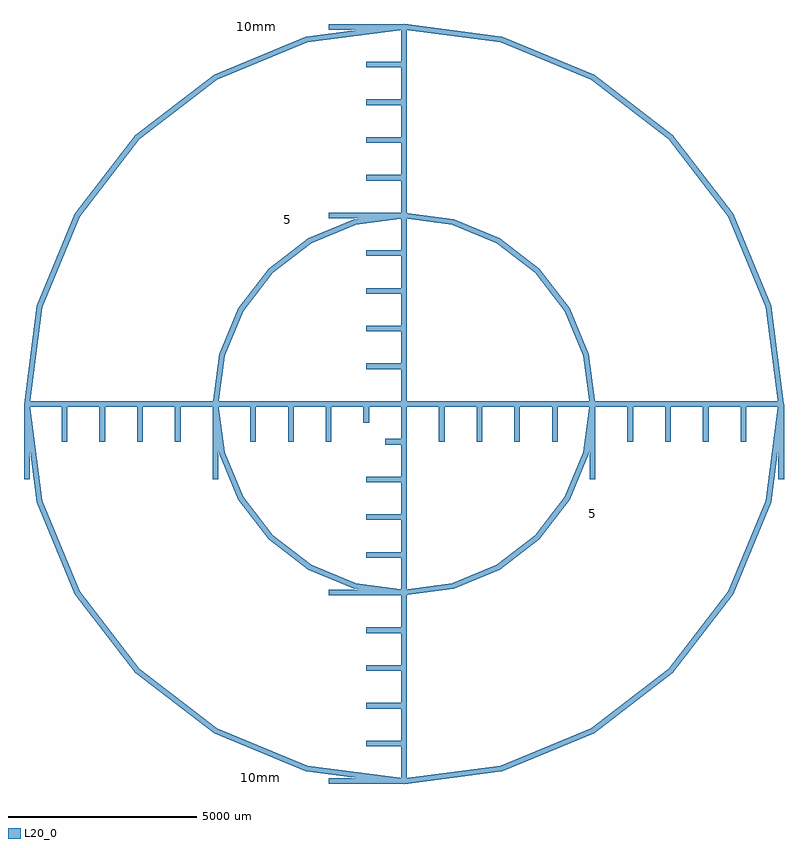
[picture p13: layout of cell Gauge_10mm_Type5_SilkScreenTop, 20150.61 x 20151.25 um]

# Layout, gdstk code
import gdstk
lib = gdstk.Library(unit=1e-6, precision=1e-09)
L20_0 = (20, 0)

gauge_10mm_type5_silkscr = lib.new_cell('Gauge_10mm_Type5_SilkScreenTop')
gauge_10mm_type5_silkscr.add(gdstk.FlexPath([(9999.98,0),(9999.98,-1998.98)], 149.998, ends="flush", simple_path=True, layer=20, datatype=0))  # L20_0
gauge_10mm_type5_silkscr.add(gdstk.FlexPath([(0,0),(9999.98,0)], 149.998, ends="flush", simple_path=True, layer=20, datatype=0))  # L20_0
gauge_10mm_type5_silkscr.add(gdstk.FlexPath([(0,0),(0,-1998.98)], 149.998, ends="flush", simple_path=True, layer=20, datatype=0))  # L20_0
gauge_10mm_type5_silkscr.add(gdstk.FlexPath([(5001.26,0),(5001.26,-1998.98)], 149.998, ends="flush", simple_path=True, layer=20, datatype=0))  # L20_0
gauge_10mm_type5_silkscr.add(gdstk.FlexPath([(1000.76,0),(1000.76,-1000.76)], 149.998, ends="flush", simple_path=True, layer=20, datatype=0))  # L20_0
gauge_10mm_type5_silkscr.add(gdstk.FlexPath([(1998.98,0),(1998.98,-1000.76)], 149.998, ends="flush", simple_path=True, layer=20, datatype=0))  # L20_0
gauge_10mm_type5_silkscr.add(gdstk.FlexPath([(2999.74,0),(2999.74,-1000.76)], 149.998, ends="flush", simple_path=True, layer=20, datatype=0))  # L20_0
gauge_10mm_type5_silkscr.add(gdstk.FlexPath([(4000.5,0),(4000.5,-1000.76)], 149.998, ends="flush", simple_path=True, layer=20, datatype=0))  # L20_0
gauge_10mm_type5_silkscr.add(gdstk.FlexPath([(5999.48,0),(5999.48,-1000.76)], 149.998, ends="flush", simple_path=True, layer=20, datatype=0))  # L20_0
gauge_10mm_type5_silkscr.add(gdstk.FlexPath([(7000.24,0),(7000.24,-1000.76)], 149.998, ends="flush", simple_path=True, layer=20, datatype=0))  # L20_0
gauge_10mm_type5_silkscr.add(gdstk.FlexPath([(8001,0),(8001,-1000.76)], 149.998, ends="flush", simple_path=True, layer=20, datatype=0))  # L20_0
gauge_10mm_type5_silkscr.add(gdstk.FlexPath([(8999.22,0),(8999.22,-1000.76)], 149.998, ends="flush", simple_path=True, layer=20, datatype=0))  # L20_0
gauge_10mm_type5_silkscr.add(gdstk.FlexPath([(0,0),(0,9999.98)], 149.998, ends="flush", simple_path=True, layer=20, datatype=0))  # L20_0
gauge_10mm_type5_silkscr.add(gdstk.FlexPath([(0,9999.98),(-1998.98,9999.98)], 149.998, ends="flush", simple_path=True, layer=20, datatype=0))  # L20_0
gauge_10mm_type5_silkscr.add(gdstk.FlexPath([(0,5001.26),(-1998.98,5001.26)], 149.998, ends="flush", simple_path=True, layer=20, datatype=0))  # L20_0
gauge_10mm_type5_silkscr.add(gdstk.FlexPath([(0,1000.76),(-1000.76,1000.76)], 149.998, ends="flush", simple_path=True, layer=20, datatype=0))  # L20_0
gauge_10mm_type5_silkscr.add(gdstk.FlexPath([(0,1998.98),(-1000.76,1998.98)], 149.998, ends="flush", simple_path=True, layer=20, datatype=0))  # L20_0
gauge_10mm_type5_silkscr.add(gdstk.FlexPath([(0,2999.74),(-1000.76,2999.74)], 149.998, ends="flush", simple_path=True, layer=20, datatype=0))  # L20_0
gauge_10mm_type5_silkscr.add(gdstk.FlexPath([(0,4000.5),(-1000.76,4000.5)], 149.998, ends="flush", simple_path=True, layer=20, datatype=0))  # L20_0
gauge_10mm_type5_silkscr.add(gdstk.FlexPath([(0,5999.48),(-1000.76,5999.48)], 149.998, ends="flush", simple_path=True, layer=20, datatype=0))  # L20_0
gauge_10mm_type5_silkscr.add(gdstk.FlexPath([(0,7000.24),(-1000.76,7000.24)], 149.998, ends="flush", simple_path=True, layer=20, datatype=0))  # L20_0
gauge_10mm_type5_silkscr.add(gdstk.FlexPath([(0,8001),(-1000.76,8001)], 149.998, ends="flush", simple_path=True, layer=20, datatype=0))  # L20_0
gauge_10mm_type5_silkscr.add(gdstk.FlexPath([(0,8999.22),(-1000.76,8999.22)], 149.998, ends="flush", simple_path=True, layer=20, datatype=0))  # L20_0
gauge_10mm_type5_silkscr.add(gdstk.FlexPath([(0,0),(-9999.98,0)], 149.998, ends="flush", simple_path=True, layer=20, datatype=0))  # L20_0
gauge_10mm_type5_silkscr.add(gdstk.FlexPath([(-9999.98,0),(-9999.98,-1998.98)], 149.998, ends="flush", simple_path=True, layer=20, datatype=0))  # L20_0
gauge_10mm_type5_silkscr.add(gdstk.FlexPath([(-5001.26,0),(-5001.26,-1998.98)], 149.998, ends="flush", simple_path=True, layer=20, datatype=0))  # L20_0
gauge_10mm_type5_silkscr.add(gdstk.FlexPath([(-1998.98,0),(-1998.98,-1000.76)], 149.998, ends="flush", simple_path=True, layer=20, datatype=0))  # L20_0
gauge_10mm_type5_silkscr.add(gdstk.FlexPath([(-2999.74,0),(-2999.74,-1000.76)], 149.998, ends="flush", simple_path=True, layer=20, datatype=0))  # L20_0
gauge_10mm_type5_silkscr.add(gdstk.FlexPath([(-4000.5,0),(-4000.5,-1000.76)], 149.998, ends="flush", simple_path=True, layer=20, datatype=0))  # L20_0
gauge_10mm_type5_silkscr.add(gdstk.FlexPath([(-5999.48,0),(-5999.48,-1000.76)], 149.998, ends="flush", simple_path=True, layer=20, datatype=0))  # L20_0
gauge_10mm_type5_silkscr.add(gdstk.FlexPath([(-7000.24,0),(-7000.24,-1000.76)], 149.998, ends="flush", simple_path=True, layer=20, datatype=0))  # L20_0
gauge_10mm_type5_silkscr.add(gdstk.FlexPath([(-8001,0),(-8001,-1000.76)], 149.998, ends="flush", simple_path=True, layer=20, datatype=0))  # L20_0
gauge_10mm_type5_silkscr.add(gdstk.FlexPath([(-8999.22,0),(-8999.22,-1000.76)], 149.998, ends="flush", simple_path=True, layer=20, datatype=0))  # L20_0
gauge_10mm_type5_silkscr.add(gdstk.FlexPath([(0,-9999.98),(-1998.98,-9999.98)], 149.998, ends="flush", simple_path=True, layer=20, datatype=0))  # L20_0
gauge_10mm_type5_silkscr.add(gdstk.FlexPath([(0,-1998.98),(0,-9999.98)], 149.998, ends="flush", simple_path=True, layer=20, datatype=0))  # L20_0
gauge_10mm_type5_silkscr.add(gdstk.FlexPath([(0,-5001.26),(-1998.98,-5001.26)], 149.998, ends="flush", simple_path=True, layer=20, datatype=0))  # L20_0
gauge_10mm_type5_silkscr.add(gdstk.FlexPath([(0,-1000.76),(-500.38,-1000.76)], 149.998, ends="flush", simple_path=True, layer=20, datatype=0))  # L20_0
gauge_10mm_type5_silkscr.add(gdstk.FlexPath([(-1000.76,0),(-1000.76,-500.38)], 149.998, ends="flush", simple_path=True, layer=20, datatype=0))  # L20_0
gauge_10mm_type5_silkscr.add(gdstk.FlexPath([(0,-1998.98),(-1000.76,-1998.98)], 149.998, ends="flush", simple_path=True, layer=20, datatype=0))  # L20_0
gauge_10mm_type5_silkscr.add(gdstk.FlexPath([(0,-2999.74),(-1000.76,-2999.74)], 149.998, ends="flush", simple_path=True, layer=20, datatype=0))  # L20_0
gauge_10mm_type5_silkscr.add(gdstk.FlexPath([(0,-4000.5),(-1000.76,-4000.5)], 149.998, ends="flush", simple_path=True, layer=20, datatype=0))  # L20_0
gauge_10mm_type5_silkscr.add(gdstk.FlexPath([(0,-5999.48),(-1000.76,-5999.48)], 149.998, ends="flush", simple_path=True, layer=20, datatype=0))  # L20_0
gauge_10mm_type5_silkscr.add(gdstk.FlexPath([(0,-7000.24),(-1000.76,-7000.24)], 149.998, ends="flush", simple_path=True, layer=20, datatype=0))  # L20_0
gauge_10mm_type5_silkscr.add(gdstk.FlexPath([(0,-8001),(-1000.76,-8001)], 149.998, ends="flush", simple_path=True, layer=20, datatype=0))  # L20_0
gauge_10mm_type5_silkscr.add(gdstk.FlexPath([(0,-8999.22),(-1000.76,-8999.22)], 149.998, ends="flush", simple_path=True, layer=20, datatype=0))  # L20_0
gauge_10mm_type5_silkscr.add(gdstk.FlexPath([(9999.98,0),(9659.239,2588.185),(8660.237,4999.99),(7071.054,7071.054),(4999.99,8660.237),(2588.185,9659.239),(0,9999.98),(-2588.185,9659.239),(-4999.99,8660.237),(-7071.054,7071.054),(-8660.237,4999.99),(-9659.239,2588.185),(-9999.98,0),(-9659.239,-2588.185),(-8660.237,-4999.99),(-7071.054,-7071.054),(-4999.99,-8660.237),(-2588.185,-9659.239),(0,-9999.98),(2588.185,-9659.239),(4999.99,-8660.237),(7071.054,-7071.054),(8660.237,-4999.99),(9659.239,-2588.185),(9999.98,0)], 149.998, ends="flush", simple_path=True, layer=20, datatype=0))  # L20_0
gauge_10mm_type5_silkscr.add(gdstk.FlexPath([(5001.26,0),(4830.846,1294.421),(4331.218,2500.63),(3536.425,3536.425),(2500.63,4331.218),(1294.421,4830.846),(0,5001.26),(-1294.421,4830.846),(-2500.63,4331.218),(-3536.425,3536.425),(-4331.218,2500.63),(-4830.846,1294.421),(-5001.26,0),(-4830.846,-1294.421),(-4331.218,-2500.63),(-3536.425,-3536.425),(-2500.63,-4331.218),(-1294.421,-4830.846),(0,-5001.26),(1294.421,-4830.846),(2500.63,-4331.218),(3536.425,-3536.425),(4331.218,-2500.63),(4830.846,-1294.421),(5001.26,0)], 149.998, ends="flush", simple_path=True, layer=20, datatype=0))  # L20_0
gauge_10mm_type5_silkscr.add(gdstk.Label('10mm', (11899.9,-99.06), layer=9, texttype=0))
gauge_10mm_type5_silkscr.add(gdstk.Label('5', (4998.72,-2900.68), layer=9, texttype=0))
gauge_10mm_type5_silkscr.add(gdstk.Label('5', (-3101.34,4899.66), layer=9, texttype=0))
gauge_10mm_type5_silkscr.add(gdstk.Label('10mm', (-3901.44,9999.98), layer=9, texttype=0))
gauge_10mm_type5_silkscr.add(gdstk.Label('10mm', (-3799.84,-9900.92), layer=9, texttype=0))
gauge_10mm_type5_silkscr.add(gdstk.Label('10mm', (-11600.18,-99.06), layer=9, texttype=0))
gauge_10mm_type5_silkscr.add(gdstk.Label('type', (1198.88,-13700.76), layer=9, texttype=0))
gauge_10mm_type5_silkscr.add(gdstk.Label('devicename', (-800.1,14000.48), layer=9, texttype=0))

lib.write_gds('Gauge_10mm_Type5_SilkScreenTop.gds')
